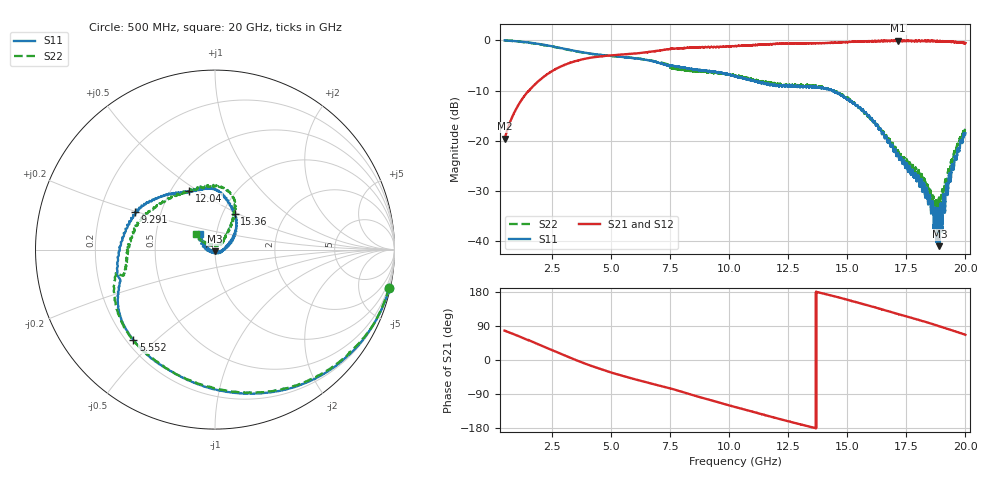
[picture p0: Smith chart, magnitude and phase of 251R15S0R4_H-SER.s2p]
!{251R15S0R4}
!Johanson Technology Inc.
!www.johansontechnology.com
!Test Board Conditions:
!Substrate Type  RO4350B
!Substrate Thickness  20 mil
!Substrate Dk  3.66
!TL Type: GCPW
!TL Trace Width  34 mil
!TL Gap  10 mil
!Electrode orientation  Horizontal
!DUT TOPOLOGY	SERIES
!Mounting Pad LxW  26x52 mil
! Created Thu Mar 12 16:28:11 2020
# mhz S ma R 50
! 2 Port Network Data from SP1.SP block
! freq  magS11  angS11  magS21  angS21  magS12  angS12  magS22  angS22
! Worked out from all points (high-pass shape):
!   19501 points, 500 MHz to 20 GHz, reference 50 ohm
!   highest |S21| = -0.09 dB at 17.15 GHz (marker M1); lowest = -19.6 dB at 500 MHz (marker M2)
!   |S21| within 3 dB of the highest: 4.847068 GHz to 4.849665 GHz (2.597 MHz wide, 0.0536 % of centre); 4.85 GHz to end of sweep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
!   lowest |S11| = -41.0 dB at 18.9 GHz (marker M3), VSWR 1.02, Z = 49.7 - j0.85 ohm
!   |S11| at or under -10 dB: 14.34745 GHz to 14.34948 GHz (2.03 MHz wide, 0.0141 % of centre); 14.35 GHz to end of sweep
!   |S22| runs from -34.3 to -0.1 dB; largest |S21 - S12| = 0.02
!   S11 on the Smith chart (normalised r, x): 500 MHz: 0.24, -9.16; 5.552 GHz: 0.23, -0.43; 9.291 GHz: 0.36, +0.19; 12.04 GHz: 0.62, +0.46; 15.36 GHz: 1.14, +0.47; 20 GHz: 0.84, +0.14
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500  0.9944 -12.4  0.1049 77.5  0.1052 77.7  0.9935 -12.4
1201  0.9677 -30.2  0.2514 60.1  0.2513 59.9  0.9643 -30.2
2156  0.9009 -55.0  0.4329 35.3  0.4332 35.4  0.8952 -54.4
2889  0.8336 -74.1  0.5495 16.2  0.5498 16.0  0.8309 -73.2
3750  0.7612 -95.5  0.6426 -5.9  0.6418 -5.8  0.7582 -95.0
5552  0.6788 -132.0  0.7237 -43.0  0.7235 -42.9  0.6801 -132.2
7000  0.6011 -154.5  0.7869 -66.9  0.7882 -66.8  0.6092 -157.9
8167  0.5306 178.5  0.8355 -87.0  0.8388 -86.7  0.5023 -170.1
9291  0.4917 155.0  0.8526 -107.3  0.8564 -107.5  0.4788 174.6
10250  0.4373 140.1  0.8766 -124.0  0.8758 -124.1  0.4443 157.3
12038  0.3565 113.5  0.9207 -154.1  0.9163 -154.4  0.3723 121.0
13500  0.3402 96.1  0.9324 -177.3  0.9282 -177.3  0.3504 87.4
15363  0.2251 61.0  0.9684 152.9  0.9635 152.9  0.2271 60.9
16750  0.09957 23.2  0.9859 128.6  0.9844 128.5  0.1038 51.2
17154  0.07471 15.1  0.9899 121.2  0.9833 121.2  0.07878 49.6
18182  0.03208 -18.3  0.9838 102.7  0.9859 102.5  0.04183 44.8
18723  0.02089 -74.6  0.9804 92.6  0.977 92.1  0.02304 69.0
18838  0.02059 -105.4  0.9796 90.2  0.9743 90.0  0.02066 85.8
18897  0.008958 -107.5  0.9771 89.2  0.9734 88.8  0.02701 104.3
18960  0.02382 -131.7  0.9763 87.7  0.9742 87.7  0.02275 113.6
19498  0.05342 164.1  0.9604 76.9  0.9573 77.2  0.06954 142.1
20000  0.1186 134.1  0.934 66.5  0.9314 66.3  0.1361 139.5
